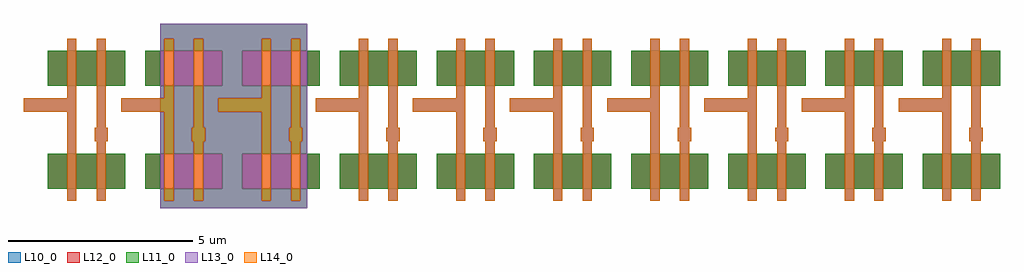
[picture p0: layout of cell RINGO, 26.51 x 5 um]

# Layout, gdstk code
import gdstk
lib = gdstk.Library(unit=1e-6, precision=1e-09)
def R(c, l, rs):  # rectangles x0, y0, x1, y1
    for r in rs: c.add(gdstk.rectangle(r[:2], r[2:], *l))
def A(c, l, x, y, w, h, nx, ny, dx, dy):  # array of equal rectangles
    R(c, l, [(x+i*dx, y+j*dy, x+i*dx+w, y+j*dy+h) for i in range(nx) for j in range(ny)])
L10_0 = (10, 0)
L11_0 = (11, 0)
L12_0 = (12, 0)
L13_0 = (13, 0)
L14_0 = (14, 0)

trans = lib.new_cell('TRANS')
R(trans, L10_0, [(-0.125,-0.8,0.125,-0.475), (-0.65,-0.475,-0.125,0.475), (0.125,-0.475,0.65,0.475), (-0.125,0.475,0.125,0.8)])
R(trans, L12_0, [(-0.65,-0.475,0.65,0.475)])
R(trans, L14_0, [(-0.125,-0.8,0.125,0.8)])

inv2 = lib.new_cell('INV2')
R(inv2, L10_0, [(-0.525,0.475,-0.275,2.25), (0.275,0.475,0.525,2.25), (0.22,0.82,0.58,1.18), (-1.7,1.62,-0.4,1.98)])
R(inv2, L14_0, [(-0.525,-0.25,-0.275,2.25), (0.275,-0.25,0.525,2.25), (0.22,0.82,0.58,1.18), (-1.7,1.62,-0.4,1.98)])
inv2.add(gdstk.Reference(trans, (-0.4,0)))
inv2.add(gdstk.Reference(trans, (-0.4,2.8)))
inv2.add(gdstk.Reference(trans, (0.4,0), x_reflection=True))
inv2.add(gdstk.Reference(trans, (0.4,2.8), x_reflection=True))

ringo = lib.new_cell('RINGO')
A(ringo, L11_0, 6, -0.475, 0.33, 0.95, 8, 2, 2.64, 2.8)
A(ringo, L11_0, 6.87, -0.475, 1.77, 0.95, 7, 2, 2.64, 2.8)
R(ringo, L11_0, [(2,-1,6,-0.475), (-1.05,-0.475,0.72,0.475), (0.72,-0.475,1.05,0.475), (1.59,-0.475,2,0.475), (3.69,-0.475,4.23,0.475), (2,0.475,6,2.325), (-1.05,2.325,0.72,3.275), (0.72,2.325,1.05,3.275), (1.59,2.325,2,3.275), (3.69,2.325,4.23,3.275), (2,3.275,6,4)])
A(ringo, L13_0, 8.14, 0.82, 0.36, 0.36, 7, 1, 2.64, 0)
A(ringo, L13_0, 6.22, 1.62, 1.3, 0.36, 7, 1, 2.64, 0)
R(ringo, L13_0, [(2,-1,2.86,-0.8), (2.86,-1,3.165,-0.8), (3.165,-1,3.58,0.82), (3.58,-1,4.755,1.62), (4.755,-1,5.5,-0.8), (5.5,-1,6,-0.8), (-0.525,-0.8,-0.275,0.8), (0.275,-0.8,0.525,0.8), (2,-0.8,2.115,1.62), (2.365,-0.8,2.86,1.62), (2.86,-0.8,2.915,0.82), (5.005,-0.8,5.5,1.18), (5.5,-0.8,5.555,0.82), (5.805,-0.8,6,0.82), (7.395,-0.8,7.645,0.8), (8.195,-0.8,8.445,0.8), (10.035,-0.8,10.285,0.8), (10.835,-0.8,11.085,0.8), (12.675,-0.8,12.925,0.8), (13.475,-0.8,13.725,0.8), (15.315,-0.8,15.565,0.8), (16.115,-0.8,16.365,0.8), (17.955,-0.8,18.205,0.8), (18.755,-0.8,19.005,0.8), (20.595,-0.8,20.845,0.8), (21.395,-0.8,21.645,0.8), (23.235,-0.8,23.485,0.8), (24.035,-0.8,24.285,0.8), (-0.525,-0.25,-0.275,2.25), (0.275,-0.25,0.525,2.25), (7.395,-0.25,7.645,2.25), (8.195,-0.25,8.445,2.25), (10.035,-0.25,10.285,2.25), (10.835,-0.25,11.085,2.25), (12.675,-0.25,12.925,2.25), (13.475,-0.25,13.725,2.25), (15.315,-0.25,15.565,2.25), (16.115,-0.25,16.365,2.25), (17.955,-0.25,18.205,2.25), (18.755,-0.25,19.005,2.25), (20.595,-0.25,20.845,2.25), (21.395,-0.25,21.645,2.25), (23.235,-0.25,23.485,2.25), (24.035,-0.25,24.285,2.25), (0.22,0.82,0.58,1.18), (3.22,0.82,3.58,1.18), (5.86,0.82,6,1.18), (2.86,1.18,2.915,3.6), (3.165,1.18,3.58,3.6), (5.005,1.18,5.555,3.6), (5.805,1.18,6,3.6), (-1.7,1.62,-0.4,1.98), (0.94,1.62,2,1.98), (2.365,1.62,2.86,3.6), (2,1.98,2.115,3.6), (3.58,1.98,4.755,3.6), (-0.525,2,-0.275,3.6), (0.275,2,0.525,3.6), (7.395,2,7.645,3.6), (8.195,2,8.445,3.6), (10.035,2,10.285,3.6), (10.835,2,11.085,3.6), (12.675,2,12.925,3.6), (13.475,2,13.725,3.6), (15.315,2,15.565,3.6), (16.115,2,16.365,3.6), (17.955,2,18.205,3.6), (18.755,2,19.005,3.6), (20.595,2,20.845,3.6), (21.395,2,21.645,3.6), (23.235,2,23.485,3.6), (24.035,2,24.285,3.6), (2,3.6,3.58,4), (3.58,3.6,4.755,4), (4.755,3.6,6,4)])
ringo.add(gdstk.Reference(inv2, (0,0)))
ringo.add(gdstk.Reference(inv2, (2.64,0)))
ringo.add(gdstk.Reference(inv2, (5.28,0)))
ringo.add(gdstk.Reference(inv2, (7.92,0)))
ringo.add(gdstk.Reference(inv2, (10.56,0)))
ringo.add(gdstk.Reference(inv2, (13.2,0)))
ringo.add(gdstk.Reference(inv2, (15.84,0)))
ringo.add(gdstk.Reference(inv2, (18.48,0)))
ringo.add(gdstk.Reference(inv2, (21.12,0)))
ringo.add(gdstk.Reference(inv2, (23.76,0)))

lib.write_gds('RINGO.gds')
